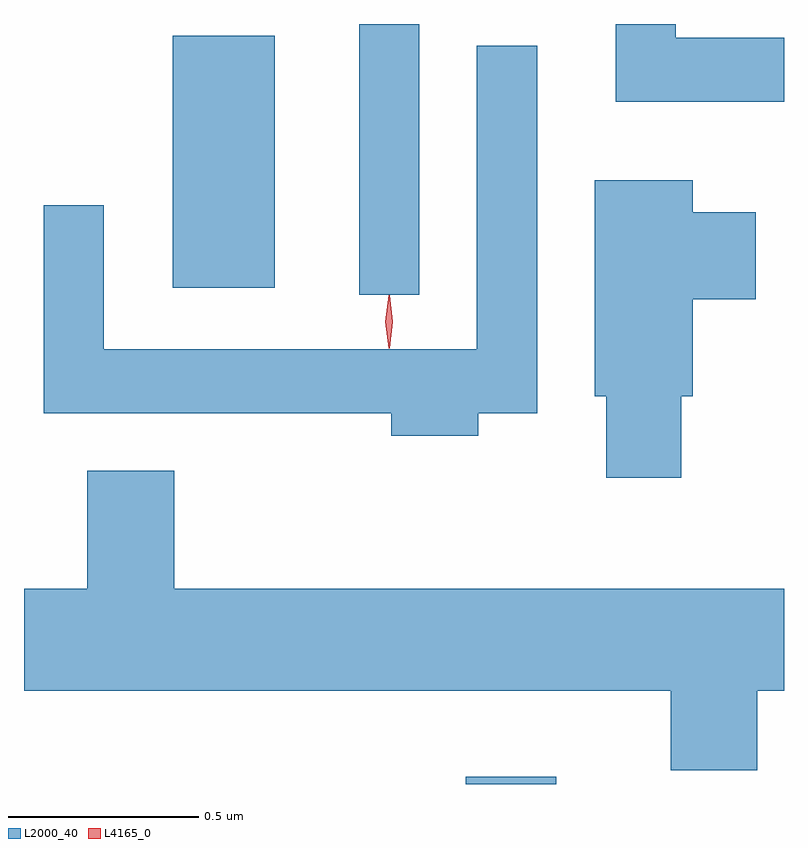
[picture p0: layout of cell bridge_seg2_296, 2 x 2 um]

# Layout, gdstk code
import gdstk
lib = gdstk.Library(unit=1e-6, precision=1e-09)
def R(c, l, rs):  # rectangles x0, y0, x1, y1
    for r in rs: c.add(gdstk.rectangle(r[:2], r[2:], *l))
def P(c, l, *ps):  # polygons
    for p in ps: c.add(gdstk.Polygon(p, *l))
L2000_40 = (2000, 40)
L4165_0 = (4165, 0)

bridge_seg2_296 = lib.new_cell('bridge_seg2_296')
R(bridge_seg2_296, L2000_40, [(549.776,1068.05,550.014,1068.069), (549.496,1069.338,549.654,1070.05), (549.006,1069.356,549.274,1070.019)])
P(bridge_seg2_296, L2000_40, [(550.614,1070.014),(550.329,1070.014),(550.329,1070.05),(550.171,1070.05),(550.171,1069.846),(550.614,1069.846)],
  [(549.809,1069.026),(549.964,1069.026),(549.964,1069.993),(549.806,1069.993),(549.806,1069.194),(548.824,1069.194),(548.824,1069.573),(548.666,1069.573),(548.666,1069.026),(549.581,1069.026),(549.581,1068.966),(549.809,1068.966)],
  [(550.344,1069.071),(550.374,1069.071),(550.374,1069.326),(550.539,1069.326),(550.539,1069.554),(550.374,1069.554),(550.374,1069.639),(550.116,1069.639),(550.116,1069.071),(550.146,1069.071),(550.146,1068.856),(550.344,1068.856)],
  [(550.544,1068.296),(550.614,1068.296),(550.614,1068.564),(549.009,1068.564),(549.009,1068.874),(548.781,1068.874),(548.781,1068.564),(548.614,1068.564),(548.614,1068.296),(550.316,1068.296),(550.316,1068.086),(550.544,1068.086)])
P(bridge_seg2_296, L4165_0, [(549.574,1069.197),(549.565,1069.266),(549.574,1069.336),(549.575,1069.336),(549.576,1069.336),(549.585,1069.266),(549.576,1069.197),(549.575,1069.197)],
  [(549.575,1069.199),(549.575,1069.2),(549.565,1069.266),(549.574,1069.332),(549.575,1069.333),(549.575,1069.332),(549.585,1069.266),(549.576,1069.2)])

lib.write_gds('bridge_seg2_296.gds')
